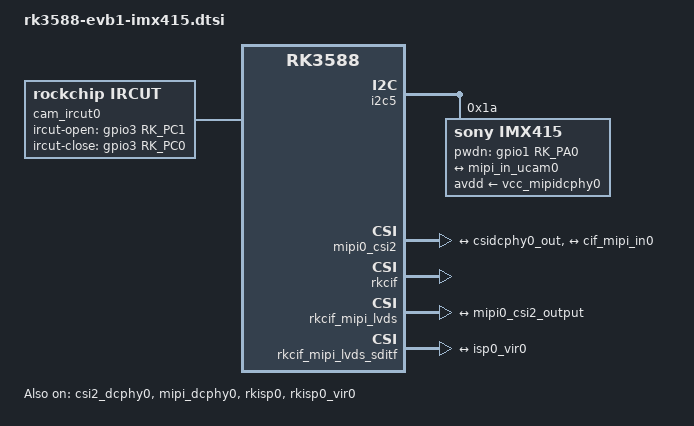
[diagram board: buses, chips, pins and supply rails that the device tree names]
// SPDX-License-Identifier: (GPL-2.0+ OR MIT)
/*
 * Copyright (c) 2021 Rockchip Electronics Co., Ltd.
 *
 */

/ {
	cam_ircut0: cam_ircut {
		status = "okay";
		compatible = "rockchip,ircut";
		ircut-open-gpios = <&gpio3 RK_PC1 GPIO_ACTIVE_HIGH>;
		ircut-close-gpios  = <&gpio3 RK_PC0 GPIO_ACTIVE_HIGH>;
		rockchip,camera-module-index = <0>;
		rockchip,camera-module-facing = "back";
	};
};

&csi2_dcphy0 {
	status = "okay";

	ports {
		#address-cells = <1>;
		#size-cells = <0>;
		port@0 {
			reg = <0>;
			#address-cells = <1>;
			#size-cells = <0>;

			mipi_in_ucam0: endpoint@1 {
				reg = <1>;
				remote-endpoint = <&imx415_out0>;
				data-lanes = <1 2 3 4>;
			};
		};
		port@1 {
			reg = <1>;
			#address-cells = <1>;
			#size-cells = <0>;

			csidcphy0_out: endpoint@0 {
				reg = <0>;
				remote-endpoint = <&mipi0_csi2_input>;
			};
		};
	};
};

&i2c5 {
	status = "okay";

	imx415: imx415@1a {
		compatible = "sony,imx415";
		reg = <0x1a>;
		clocks = <&cru CLK_MIPI_CAMARAOUT_M1>;
		clock-names = "xvclk";
		pinctrl-names = "default";
		pinctrl-0 = <&mipim0_camera1_clk>;
		power-domains = <&power RK3588_PD_VI>;
		pwdn-gpios = <&gpio1 RK_PA0 GPIO_ACTIVE_HIGH>;
		avdd-supply = <&vcc_mipidcphy0>;
		rockchip,camera-module-index = <0>;
		rockchip,camera-module-facing = "back";
		rockchip,camera-module-name = "CMK-OT2022-PX1";
		rockchip,camera-module-lens-name = "IR0147-50IRC-8M-F20";
		lens-focus = <&cam_ircut0>;
		port {
			imx415_out0: endpoint {
				remote-endpoint = <&mipi_in_ucam0>;
				data-lanes = <1 2 3 4>;
			};
		};
	};
};

&mipi_dcphy0 {
	status = "okay";
};

&mipi0_csi2 {
	status = "okay";

	ports {
		#address-cells = <1>;
		#size-cells = <0>;

		port@0 {
			reg = <0>;
			#address-cells = <1>;
			#size-cells = <0>;

			mipi0_csi2_input: endpoint@1 {
				reg = <1>;
				remote-endpoint = <&csidcphy0_out>;
			};
		};

		port@1 {
			reg = <1>;
			#address-cells = <1>;
			#size-cells = <0>;

			mipi0_csi2_output: endpoint@0 {
				reg = <0>;
				remote-endpoint = <&cif_mipi_in0>;
			};
		};
	};
};

&rkcif {
	status = "okay";
};

&rkcif_mipi_lvds {
	status = "okay";

	port {
		cif_mipi_in0: endpoint {
			remote-endpoint = <&mipi0_csi2_output>;
		};
	};
};

&rkcif_mipi_lvds_sditf {
	status = "okay";

	port {
		mipi_lvds_sditf: endpoint {
			remote-endpoint = <&isp0_vir0>;
		};
	};
};

&rkcif_mmu {
	status = "okay";
};

&rkisp0 {
	status = "okay";
};

&isp0_mmu {
	status = "okay";
};

&rkisp0_vir0 {
	status = "okay";

	port {
		#address-cells = <1>;
		#size-cells = <0>;

		isp0_vir0: endpoint@0 {
			reg = <0>;
			remote-endpoint = <&mipi_lvds_sditf>;
		};
	};
};
